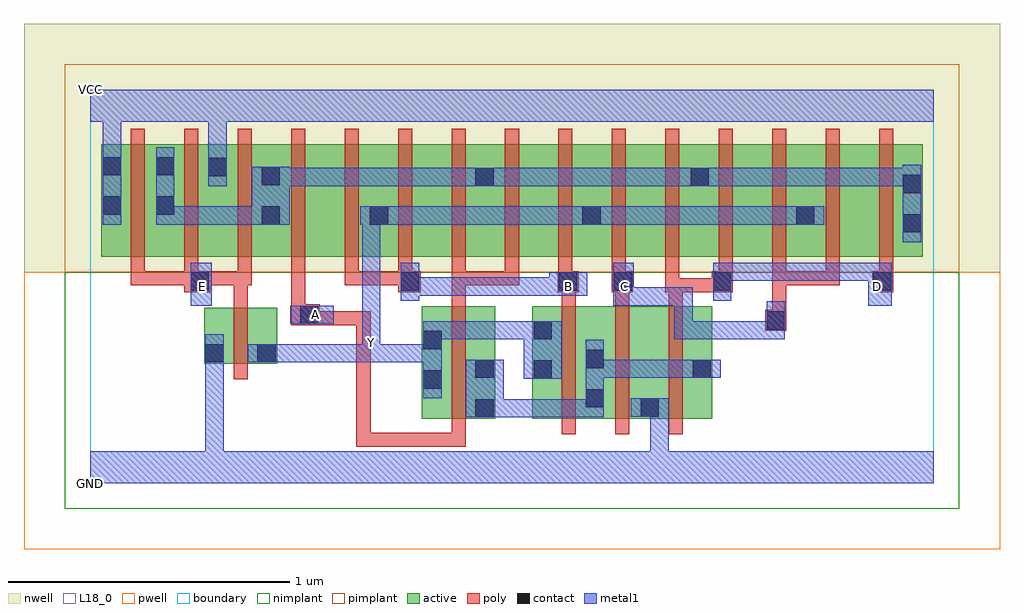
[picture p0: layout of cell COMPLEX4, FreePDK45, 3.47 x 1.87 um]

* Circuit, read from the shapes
.subckt COMPLEX4 A B C D E GND VCC Y
M1 Y E GND VSUBS nfet w=0.2u l=0.05u
M2 n1 A Y VSUBS nfet w=0.4u l=0.05u
M3 n1 B Y VSUBS nfet w=0.4u l=0.05u
M4 GND C n1 VSUBS nfet w=0.4u l=0.05u
M5 n1 D GND VSUBS nfet w=0.4u l=0.05u
M6 n2 E VCC n3 pfet w=0.4u l=0.05u m=3
M7 n4 A n2 n3 pfet w=0.4u l=0.05u
M8 Y B n4 n3 pfet w=0.4u l=0.05u
M9 n5 B Y n3 pfet w=0.4u l=0.05u
M10 n2 A n5 n3 pfet w=0.4u l=0.05u
M11 n6 A n2 n3 pfet w=0.4u l=0.05u
M12 Y B n6 n3 pfet w=0.4u l=0.05u
M13 n7 C Y n3 pfet w=0.4u l=0.05u
M14 n2 D n7 n3 pfet w=0.4u l=0.05u
M15 n8 D n2 n3 pfet w=0.4u l=0.05u
M16 Y C n8 n3 pfet w=0.4u l=0.05u
M17 n9 C Y n3 pfet w=0.4u l=0.05u
M18 n2 D n9 n3 pfet w=0.4u l=0.05u
.ends

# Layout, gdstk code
import gdstk
lib = gdstk.Library(unit=1e-6, precision=1e-09)
def R(c, l, rs):  # rectangles x0, y0, x1, y1
    for r in rs: c.add(gdstk.rectangle(r[:2], r[2:], *l))
def A(c, l, x, y, w, h, nx, ny, dx, dy):  # array of equal rectangles
    R(c, l, [(x+i*dx, y+j*dy, x+i*dx+w, y+j*dy+h) for i in range(nx) for j in range(ny)])
active = (1, 0)
pwell = (2, 0)
nwell = (3, 0)
nimplant = (4, 0)
pimplant = (5, 0)
poly = (9, 0)
contact = (10, 0)
metal1 = (11, 0)
L18_0 = (18, 0)
boundary = (235, 0)

complex4 = lib.new_cell('COMPLEX4')
R(complex4, active, [(1.18,0.23,1.44,0.63), (1.365,0.23,1.44,0.537), (1.572,0.23,1.832,0.63), (1.757,0.23,2.027,0.63), (1.952,0.23,2.212,0.63), (1.952,0.23,2.027,0.492), (1.757,0.265,1.832,0.492), (1.18,0.295,1.255,0.63), (1.572,0.295,1.647,0.63), (2.137,0.295,2.212,0.597), (0.405,0.425,0.48,0.625), (0.405,0.425,0.665,0.625), (0.59,0.425,0.665,0.625), (0.04,0.805,0.305,1.205), (0.04,0.805,0.115,1.205), (0.23,0.805,0.49,1.205), (0.23,0.805,0.305,1.2), (0.415,0.805,0.68,1.205), (0.415,0.805,0.49,1.205), (0.605,0.805,0.68,1.2), (0.605,0.805,0.835,1.205), (0.835,0.805,1.065,1.205), (0.99,0.805,1.215,1.205), (0.99,0.805,1.065,1.07), (1.215,0.805,1.44,1.205), (1.365,0.805,1.44,1.2), (1.365,0.805,1.595,1.205), (1.595,0.805,1.82,1.205), (1.745,0.805,1.975,1.205), (1.745,0.805,1.82,1.07), (1.975,0.805,2.205,1.205), (2.13,0.805,2.205,1.2), (2.13,0.805,2.355,1.205), (2.355,0.805,2.58,1.205), (2.505,0.805,2.735,1.205), (2.505,0.805,2.58,1.07), (2.735,0.805,2.96,1.205), (2.885,0.805,2.96,1.2)])
R(complex4, pwell, [(-0.235,-0.235,3.235,0.75)])
R(complex4, nwell, [(-0.235,0.75,3.235,1.635)])
R(complex4, nimplant, [(-0.09,-0.09,3.09,0.75)])
R(complex4, pimplant, [(-0.09,0.75,3.09,1.49)])
A(complex4, poly, 1.677, 0.175, 0.05, 0.51, 3, 1, 0.19, 0)
A(complex4, poly, 1.677, 0.635, 0.05, 0.095, 3, 1, 0.19, 0)
A(complex4, poly, 0.145, 0.705, 0.05, 0.095, 3, 1, 0.19, 0)
A(complex4, poly, 0.905, 0.705, 0.05, 0.095, 6, 1, 0.19, 0)
A(complex4, poly, 1.095, 0.705, 0.05, 0.05, 3, 1, 0.19, 0)
A(complex4, poly, 2.235, 0.705, 0.05, 0.095, 4, 1, 0.19, 0)
A(complex4, poly, 0.145, 0.75, 0.05, 0.51, 15, 1, 0.19, 0)
R(complex4, poly, [(0.947,0.13,0.997,0.18), (0.947,0.13,1.13,0.18), (0.947,0.13,0.997,0.612), (1.08,0.13,1.13,0.18), (1.08,0.13,1.13,0.18), (1.08,0.13,1.13,0.18), (1.08,0.13,1.335,0.18), (1.285,0.13,1.335,0.225), (1.285,0.13,1.335,0.18), (1.285,0.13,1.335,0.18), (1.285,0.13,1.335,0.18), (1.285,0.175,1.335,0.685), (0.51,0.37,0.56,0.68), (2.4,0.542,2.475,0.617), (0.715,0.562,0.817,0.637), (0.767,0.562,0.817,0.612), (0.767,0.562,0.817,0.612), (0.767,0.562,0.817,0.612), (0.767,0.562,0.817,0.612), (0.767,0.562,0.817,0.612), (0.767,0.562,0.817,0.612), (0.767,0.562,0.817,0.612), (0.767,0.562,0.817,0.612), (0.767,0.562,0.997,0.612), (0.947,0.562,0.997,0.612), (0.947,0.562,0.997,0.612), (0.947,0.562,0.997,0.612), (2.425,0.567,2.475,0.755), (0.715,0.587,0.765,0.8), (0.51,0.63,0.56,0.755), (1.285,0.635,1.335,0.755), (0.335,0.68,0.427,0.755), (1.095,0.68,1.175,0.755), (1.662,0.68,1.737,0.755), (1.855,0.68,1.93,0.755), (2.045,0.68,2.095,0.8), (2.045,0.68,2.107,0.73), (2.057,0.68,2.26,0.73), (2.21,0.68,2.285,0.755), (2.21,0.68,2.26,0.73), (2.21,0.68,2.26,0.73), (2.78,0.68,2.855,0.755), (0.145,0.705,0.385,0.755), (0.145,0.705,0.195,0.755), (0.145,0.705,0.195,0.755), (0.145,0.705,0.195,0.755), (0.377,0.705,0.56,0.755), (0.51,0.705,0.56,0.755), (0.51,0.705,0.56,0.755), (0.51,0.705,0.575,0.755), (0.905,0.705,1.145,0.755), (0.905,0.705,0.955,0.755), (1.095,0.705,1.145,0.755), (1.285,0.705,1.525,0.755), (1.475,0.705,1.525,0.755), (1.475,0.705,1.525,0.755), (2.425,0.705,2.665,0.755), (2.425,0.705,2.475,0.755), (2.425,0.705,2.475,0.755), (2.425,0.705,2.475,0.755), (2.425,0.705,2.475,0.755), (2.425,0.705,2.475,0.755), (2.615,0.705,2.665,0.755)])
R(complex4, contact, [(1.37,0.235,1.435,0.3), (1.957,0.237,2.022,0.302), (1.762,0.27,1.827,0.335), (1.185,0.337,1.25,0.402), (1.577,0.372,1.642,0.437), (1.37,0.375,1.435,0.44), (2.142,0.375,2.207,0.44), (1.762,0.41,1.827,0.475), (0.41,0.43,0.475,0.495), (0.595,0.43,0.66,0.495), (1.185,0.477,1.25,0.542), (1.577,0.512,1.642,0.577), (2.405,0.547,2.47,0.612), (0.747,0.567,0.812,0.632), (0.357,0.685,0.422,0.75), (1.105,0.685,1.17,0.75), (1.667,0.685,1.732,0.75), (1.86,0.685,1.925,0.75), (2.215,0.685,2.28,0.75), (2.785,0.685,2.85,0.75), (2.89,0.892,2.955,0.957), (0.61,0.92,0.675,0.985), (0.995,0.92,1.06,0.985), (1.75,0.92,1.815,0.985), (2.51,0.92,2.575,0.985), (0.045,0.955,0.11,1.02), (0.235,0.955,0.3,1.02), (2.89,1.032,2.955,1.097), (1.37,1.057,1.435,1.122), (2.135,1.057,2.2,1.122), (0.61,1.06,0.675,1.125), (0.42,1.092,0.485,1.157), (0.045,1.095,0.11,1.16), (0.235,1.095,0.3,1.16)])
R(complex4, metal1, [(0,0,3,0.115), (0.41,0.05,0.475,0.115), (0.41,0.05,0.475,0.115), (0.41,0.05,0.475,0.115), (0.41,0.05,0.475,0.115), (0.41,0.05,0.475,0.115), (0.41,0.05,0.475,0.115), (0.41,0.05,0.475,0.46), (1.992,0.05,2.057,0.302), (1.335,0.235,1.47,0.44), (1.405,0.235,1.537,0.3), (1.472,0.235,1.537,0.3), (1.472,0.235,1.607,0.3), (1.542,0.235,1.607,0.3), (1.542,0.235,1.712,0.3), (1.647,0.235,1.712,0.3), (1.647,0.235,1.827,0.3), (1.762,0.235,1.827,0.51), (1.922,0.237,2.057,0.302), (1.992,0.237,2.057,0.302), (1.992,0.237,2.057,0.302), (1.185,0.302,1.25,0.577), (1.542,0.372,1.677,0.577), (1.762,0.375,2.005,0.44), (1.94,0.375,2.005,0.44), (1.94,0.375,2.005,0.44), (1.94,0.375,2.005,0.44), (1.94,0.375,2.142,0.44), (2.077,0.375,2.142,0.44), (2.077,0.375,2.172,0.44), (2.107,0.375,2.242,0.44), (0.41,0.395,0.475,0.53), (0.56,0.43,0.695,0.495), (0.63,0.43,0.777,0.495), (0.712,0.43,0.777,0.495), (0.712,0.43,0.847,0.495), (0.782,0.43,0.847,0.495), (0.782,0.43,1.032,0.495), (0.967,0.43,1.032,0.495), (0.967,0.43,1.032,0.495), (0.967,0.43,1.032,0.495), (0.967,0.43,1.032,0.495), (0.967,0.43,1.25,0.495), (0.967,0.43,1.032,0.567), (1.185,0.43,1.25,0.495), (1.185,0.43,1.25,0.495), (0.967,0.502,1.032,0.985), (1.185,0.512,1.387,0.577), (1.322,0.512,1.387,0.577), (1.322,0.512,1.387,0.577), (1.322,0.512,1.387,0.577), (1.322,0.512,1.537,0.577), (1.472,0.512,1.537,0.577), (1.472,0.512,1.607,0.577), (2.077,0.512,2.142,0.577), (2.077,0.512,2.28,0.577), (2.077,0.512,2.142,0.697), (2.215,0.512,2.28,0.577), (2.215,0.512,2.372,0.577), (2.307,0.512,2.372,0.577), (2.307,0.512,2.372,0.577), (2.307,0.512,2.372,0.577), (2.307,0.512,2.47,0.577), (2.405,0.512,2.47,0.647), (0.712,0.567,0.867,0.632), (0.357,0.632,0.432,0.785), (1.86,0.632,1.932,0.785), (1.867,0.632,1.987,0.697), (1.922,0.632,1.987,0.697), (1.922,0.632,2.142,0.697), (2.077,0.632,2.142,0.697), (2.077,0.632,2.142,0.697), (2.077,0.632,2.142,0.697), (2.767,0.632,2.85,0.785), (1.105,0.65,1.17,0.785), (2.215,0.65,2.28,0.785), (1.105,0.667,1.25,0.732), (1.185,0.667,1.25,0.732), (1.185,0.667,1.387,0.732), (1.322,0.667,1.387,0.732), (1.322,0.667,1.387,0.732), (1.322,0.667,1.387,0.732), (1.322,0.667,1.56,0.732), (1.495,0.667,1.56,0.732), (1.495,0.667,1.642,0.732), (1.577,0.667,1.642,0.732), (1.577,0.667,1.697,0.732), (1.632,0.667,1.767,0.75), (2.215,0.72,2.402,0.785), (2.337,0.72,2.402,0.785), (2.337,0.72,2.417,0.785), (2.352,0.72,2.417,0.785), (2.352,0.72,2.54,0.785), (2.475,0.72,2.54,0.785), (2.475,0.72,2.677,0.785), (2.612,0.72,2.677,0.785), (2.612,0.72,2.677,0.785), (2.612,0.72,2.677,0.785), (2.612,0.72,2.832,0.785), (2.89,0.857,2.955,1.132), (0.045,0.92,0.11,1.195), (0.235,0.92,0.3,0.985), (0.235,0.92,0.3,0.985), (0.235,0.92,0.3,1.195), (0.235,0.92,0.437,0.985), (0.372,0.92,0.437,0.985), (0.372,0.92,0.64,0.985), (0.575,0.92,0.64,0.985), (0.575,0.92,0.64,0.985), (0.575,0.92,0.71,1.125), (0.96,0.92,1.095,0.985), (1.03,0.92,1.25,0.985), (1.185,0.92,1.25,0.985), (1.185,0.92,1.25,0.985), (1.185,0.92,1.25,0.985), (1.185,0.92,1.4,0.985), (1.335,0.92,1.4,0.985), (1.335,0.92,1.4,0.985), (1.335,0.92,1.4,0.985), (1.335,0.92,1.56,0.985), (1.495,0.92,1.56,0.985), (1.495,0.92,1.612,0.985), (1.547,0.92,1.612,0.985), (1.547,0.92,1.697,0.985), (1.632,0.92,1.697,0.985), (1.632,0.92,1.78,0.985), (1.715,0.92,1.85,0.985), (1.785,0.92,1.85,0.985), (1.785,0.92,1.85,0.985), (1.785,0.92,2.005,0.985), (1.94,0.92,2.005,0.985), (1.94,0.92,2.142,0.985), (2.077,0.92,2.142,0.985), (2.077,0.92,2.142,0.985), (2.077,0.92,2.142,0.985), (2.077,0.92,2.28,0.985), (2.215,0.92,2.28,0.985), (2.215,0.92,2.402,0.985), (2.337,0.92,2.402,0.985), (2.337,0.92,2.54,0.985), (2.475,0.92,2.54,0.985), (2.475,0.92,2.54,0.985), (2.475,0.92,2.61,0.985), (0.42,1.057,0.485,1.192), (0.645,1.057,0.847,1.122), (0.782,1.057,0.847,1.122), (0.782,1.057,0.847,1.122), (0.782,1.057,0.847,1.122), (0.782,1.057,0.847,1.122), (0.782,1.057,0.847,1.122), (0.782,1.057,0.985,1.122), (0.92,1.057,0.985,1.122), (0.92,1.057,1.112,1.122), (1.047,1.057,1.112,1.122), (1.047,1.057,1.17,1.122), (1.105,1.057,1.17,1.122), (1.105,1.057,1.25,1.122), (1.185,1.057,1.25,1.122), (1.185,1.057,1.4,1.122), (1.335,1.057,1.4,1.122), (1.335,1.057,1.4,1.122), (1.335,1.057,1.47,1.122), (1.405,1.057,1.56,1.122), (1.495,1.057,1.56,1.122), (1.495,1.057,1.642,1.122), (1.577,1.057,1.642,1.122), (1.577,1.057,1.712,1.122), (1.647,1.057,1.712,1.122), (1.647,1.057,1.85,1.122), (1.785,1.057,1.85,1.122), (1.785,1.057,1.85,1.122), (1.785,1.057,1.85,1.122), (1.785,1.057,2.005,1.122), (1.94,1.057,2.005,1.122), (1.94,1.057,2.142,1.122), (2.077,1.057,2.142,1.122), (2.077,1.057,2.165,1.122), (2.1,1.057,2.235,1.122), (2.17,1.057,2.28,1.122), (2.215,1.057,2.28,1.122), (2.215,1.057,2.402,1.122), (2.337,1.057,2.402,1.122), (2.337,1.057,2.54,1.122), (2.475,1.057,2.54,1.122), (2.475,1.057,2.54,1.122), (2.475,1.057,2.54,1.122), (2.475,1.057,2.695,1.122), (2.63,1.057,2.695,1.122), (2.63,1.057,2.747,1.122), (2.682,1.057,2.747,1.122), (2.682,1.057,2.747,1.122), (2.682,1.057,2.747,1.122), (2.682,1.057,2.955,1.122), (2.89,1.057,2.955,1.122), (2.89,1.057,2.955,1.122), (0.42,1.127,0.485,1.35), (0.045,1.13,0.11,1.35), (0,1.285,3,1.4)])
R(complex4, L18_0, [(0,0,3,0.115), (0.41,0.05,0.475,0.115), (0.41,0.05,0.475,0.115), (0.41,0.05,0.475,0.115), (0.41,0.05,0.475,0.115), (0.41,0.05,0.475,0.115), (0.41,0.05,0.475,0.115), (0.41,0.05,0.475,0.46), (1.992,0.05,2.057,0.302), (1.922,0.237,2.057,0.302), (1.992,0.237,2.057,0.302), (1.992,0.237,2.057,0.302), (1.185,0.302,1.25,0.577), (1.542,0.372,1.677,0.577), (0.41,0.395,0.475,0.53), (0.56,0.43,0.695,0.495), (0.63,0.43,0.777,0.495), (0.712,0.43,0.777,0.495), (0.712,0.43,0.847,0.495), (0.782,0.43,0.847,0.495), (0.782,0.43,1.032,0.495), (0.967,0.43,1.032,0.495), (0.967,0.43,1.032,0.495), (0.967,0.43,1.032,0.495), (0.967,0.43,1.032,0.495), (0.967,0.43,1.032,0.567), (0.967,0.43,1.25,0.495), (1.185,0.43,1.25,0.495), (1.185,0.43,1.25,0.495), (0.967,0.467,1.032,0.532), (0.967,0.502,1.032,0.985), (1.185,0.512,1.387,0.577), (1.322,0.512,1.387,0.577), (1.322,0.512,1.387,0.577), (1.322,0.512,1.387,0.577), (1.322,0.512,1.537,0.577), (1.472,0.512,1.537,0.577), (1.472,0.512,1.607,0.577), (2.077,0.512,2.142,0.577), (2.077,0.512,2.142,0.697), (2.077,0.512,2.28,0.577), (2.215,0.512,2.28,0.577), (2.215,0.512,2.372,0.577), (2.307,0.512,2.372,0.577), (2.307,0.512,2.372,0.577), (2.307,0.512,2.372,0.577), (2.307,0.512,2.47,0.577), (2.405,0.512,2.47,0.647), (0.712,0.567,0.867,0.632), (0.767,0.567,0.832,0.632), (0.357,0.632,0.432,0.785), (1.86,0.632,1.932,0.785), (1.867,0.632,1.987,0.697), (1.922,0.632,1.987,0.697), (1.922,0.632,2.142,0.697), (2.077,0.632,2.142,0.697), (2.077,0.632,2.142,0.697), (2.077,0.632,2.142,0.697), (2.767,0.632,2.85,0.785), (1.105,0.65,1.17,0.785), (2.215,0.65,2.28,0.785), (0.367,0.667,0.432,0.732), (1.105,0.667,1.25,0.732), (1.185,0.667,1.25,0.732), (1.185,0.667,1.387,0.732), (1.322,0.667,1.387,0.732), (1.322,0.667,1.387,0.732), (1.322,0.667,1.387,0.732), (1.322,0.667,1.56,0.732), (1.495,0.667,1.56,0.732), (1.495,0.667,1.642,0.732), (1.577,0.667,1.642,0.732), (1.577,0.667,1.697,0.732), (1.632,0.667,1.767,0.75), (1.667,0.667,1.732,0.732), (1.867,0.667,1.932,0.732), (2.767,0.667,2.832,0.732), (2.215,0.72,2.402,0.785), (2.337,0.72,2.402,0.785), (2.337,0.72,2.417,0.785), (2.352,0.72,2.417,0.785), (2.352,0.72,2.54,0.785), (2.475,0.72,2.54,0.785), (2.475,0.72,2.677,0.785), (2.612,0.72,2.677,0.785), (2.612,0.72,2.677,0.785), (2.612,0.72,2.677,0.785), (2.612,0.72,2.832,0.785), (0.045,0.92,0.11,1.195), (0.96,0.92,1.095,0.985), (1.03,0.92,1.25,0.985), (1.185,0.92,1.25,0.985), (1.185,0.92,1.25,0.985), (1.185,0.92,1.25,0.985), (1.185,0.92,1.4,0.985), (1.335,0.92,1.4,0.985), (1.335,0.92,1.4,0.985), (1.335,0.92,1.4,0.985), (1.335,0.92,1.56,0.985), (1.495,0.92,1.56,0.985), (1.495,0.92,1.612,0.985), (1.547,0.92,1.612,0.985), (1.547,0.92,1.697,0.985), (1.632,0.92,1.697,0.985), (1.632,0.92,1.78,0.985), (1.715,0.92,1.85,0.985), (1.785,0.92,1.85,0.985), (1.785,0.92,1.85,0.985), (1.785,0.92,2.005,0.985), (1.94,0.92,2.005,0.985), (1.94,0.92,2.142,0.985), (2.077,0.92,2.142,0.985), (2.077,0.92,2.142,0.985), (2.077,0.92,2.142,0.985), (2.077,0.92,2.28,0.985), (2.215,0.92,2.28,0.985), (2.215,0.92,2.402,0.985), (2.337,0.92,2.402,0.985), (2.337,0.92,2.54,0.985), (2.475,0.92,2.54,0.985), (2.475,0.92,2.54,0.985), (2.475,0.92,2.61,0.985), (0.42,1.057,0.485,1.192), (0.42,1.127,0.485,1.35), (0.045,1.13,0.11,1.35), (0,1.285,3,1.4)])
R(complex4, boundary, [(0,0,3,1.4)])
complex4.add(gdstk.Label('A', (0.8,0.6), layer=11, texttype=0))
complex4.add(gdstk.Label('B', (1.7,0.7), layer=11, texttype=0))
complex4.add(gdstk.Label('C', (1.9,0.7), layer=11, texttype=0))
complex4.add(gdstk.Label('D', (2.8,0.7), layer=11, texttype=0))
complex4.add(gdstk.Label('E', (0.4,0.7), layer=11, texttype=0))
complex4.add(gdstk.Label('Y', (1,0.5), layer=11, texttype=0))
complex4.add(gdstk.Label('VCC', (0,1.4), layer=11, texttype=0))
complex4.add(gdstk.Label('GND', (0,0), layer=11, texttype=0))

lib.write_gds('COMPLEX4.gds')
